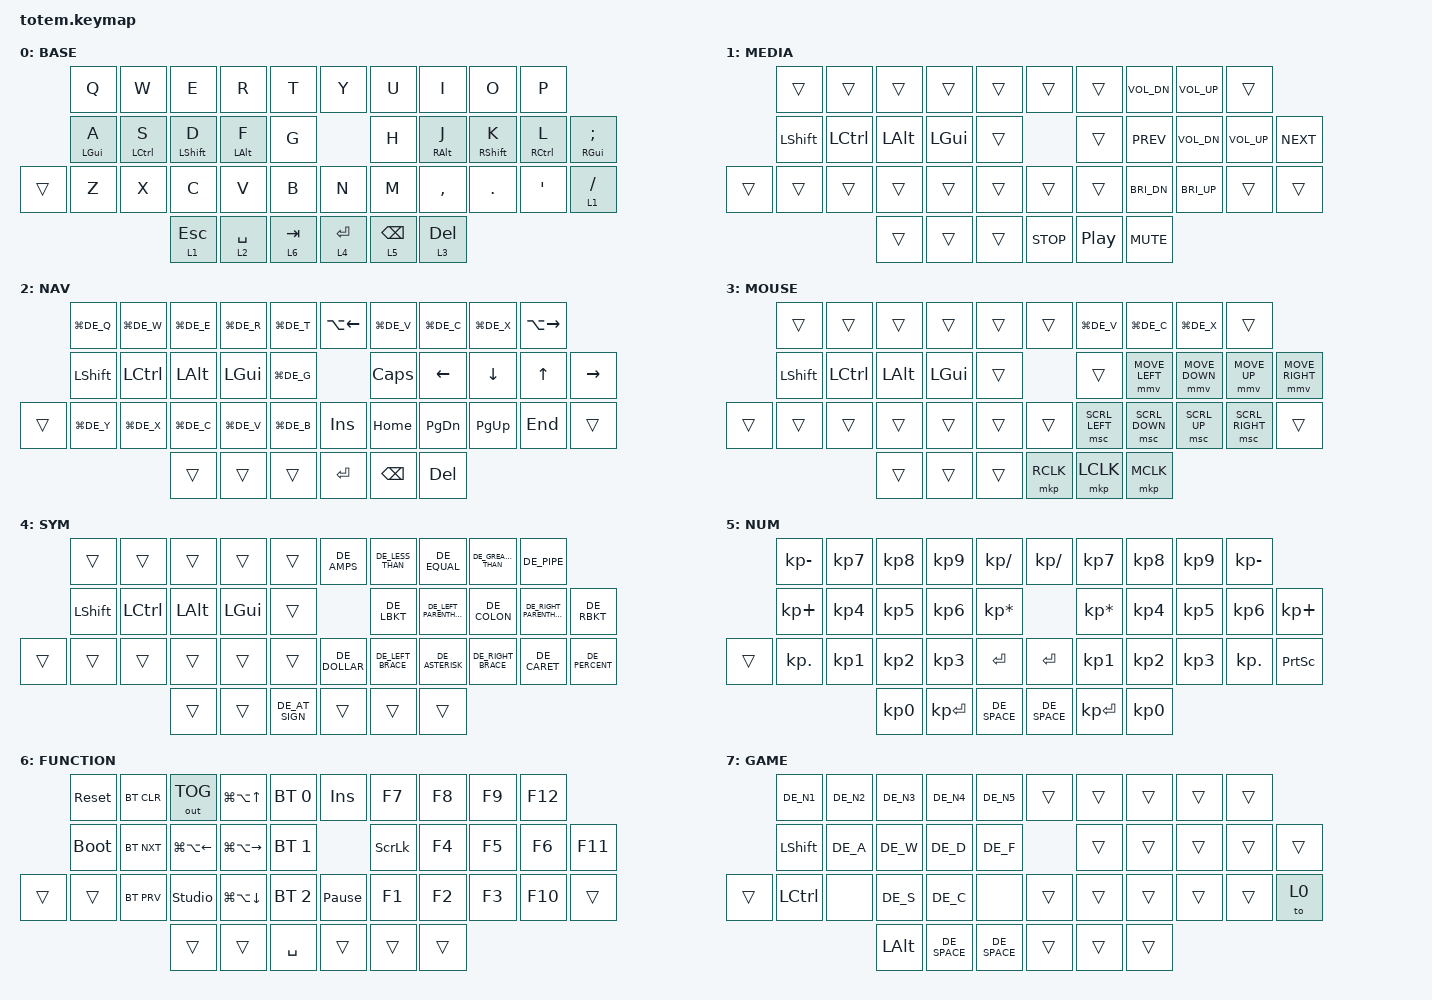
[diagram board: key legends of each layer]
//
//                                                        ▀▀▀▀▀     ▀▀▀▀▀          ▀▀█▀▀
//                                                        ▄▀▀▀▄  ▄  ▄▀▀▀▄  ▄  ▄▀▀▀▄  █  ▄▀▀▀▄
//                                                        █   █  █  █   █  █  █   █  █  █   █
//                                                         ▀▀▀   █   ▀▀▀   █   ▀▀▀   ▀   ▀▀▀
//                                                               █      ▄▄▄█▄▄▄    █   █  
//                                                               ▀      █  █  █     █▄█
//                                                             ▀▀▀▀▀    █  █  █      ▀
//                                                                      ▀  ▀  ▀
//
// ▄▄▄▄▄▄▄▄▄▄▄▄▄▄▄▄▄▄▄▄▄▄▄▄▄▄▄▄▄▄▄▄▄▄▄▄▄▄▄▄▄▄▄▄▄▄▄▄▄▄▄▄▄▄▄▄▄▄▄▄▄▄▄▄▄▄▄▄▄▄▄▄▄▄▄▄▄▄▄▄▄▄▄▄▄▄▄▄▄▄▄▄▄▄▄▄▄▄▄▄▄▄▄▄▄▄▄▄▄▄▄▄▄▄▄▄▄▄▄▄▄▄▄▄▄▄▄▄▄▄▄▄▄▄▄▄▄▄▄▄▄▄▄▄▄▄▄▄▄

#include <behaviors.dtsi>
#include <dt-bindings/zmk/bt.h>
#include <dt-bindings/zmk/keys.h>
#include <dt-bindings/zmk/outputs.h>
#include <dt-bindings/zmk/pointing.h>
#ifndef KEYMAP_DRAWER
#include "keys_de.h"
#endif

#define BASE      0
#define MEDIA     1
#define NAV       2
#define MOUSE     3
#define SYM       4
#define NUM       5
#define FUNCTION  6
#define GAME      7
#define QWERTY    8

&mt {
    quick-tap-ms = <100>;
    global-quick-tap;
    flavor = "tap-preferred";
    tapping-term-ms = <170>;
};

/ {
    behaviors {
        hm: homerow_mods {
            compatible = "zmk,behavior-hold-tap";
            label = "HOMEROW_MODS";
            #binding-cells = <2>;
            tapping-term-ms = <200>;			// <---[[produces tap if held longer than tapping-term-ms]]
            quick_tap_ms = <0>;
            flavor = "tap-preferred";
            bindings = <&kp>, <&kp>;
        };

        hm2: home_row_mod_2 {
            compatible = "zmk,behavior-hold-tap";
            #binding-cells = <2>;
            flavor = "balanced";
            require-prior-idle-ms = <150>;
            tapping-term-ms = <280>;
            quick-tap-ms = <175>;
            bindings = <&kp>, <&kp>;

            hold-trigger-key-positions = <5 6 7 8 9 15 16 17 18 19 25 26 27 28 29 33 34 35>;
            hold-trigger-on-release;
        };

        lc: layer_change {
            compatible = "zmk,behavior-hold-tap";
            #binding-cells = <2>;
            flavor = "hold-preferred";
            tapping-term-ms = <200>;
            quick-tap-ms = <200>;
            require-prior-idle-ms = <125>;
            bindings = <&to>, <&kp>;
        };

        sc: sticky_layer_change {
            compatible = "zmk,behavior-hold-tap";
            #binding-cells = <2>;
            flavor = "hold-preferred";
            tapping-term-ms = <200>;
            quick-tap-ms = <200>;
            require-prior-idle-ms = <125>;
            bindings = <&sl>, <&kp>;
        };

        dl: dualayer_change {
            compatible = "zmk,behavior-hold-tap";
            #binding-cells = <2>;
            flavor = "hold-preferred";
            tapping-term-ms = <200>;
            quick-tap-ms = <200>;
            require-prior-idle-ms = <125>;
            bindings = <&to>, <&sl>;
        };

        ts: temp_sticky {
            compatible = "zmk,behavior-hold-tap";
            #binding-cells = <2>;
            flavor = "hold-preferred";
            tapping-term-ms = <200>;
            quick-tap-ms = <200>;
            require-prior-idle-ms = <125>;
            bindings = <&mo>, <&to>;
        };
    };

    combos {
        compatible = "zmk,combos";

        combo_undo {
            timeout-ms = <50>;
            key-positions = <34 35>;
            layers = <0 5 1 6>;
            bindings = <&kp LG(Y)>;
        };

        to_game_layer {
            bindings = <&to 7>;
            key-positions = <4 5>;
            layers = <0 5 1 6>;
            timeout-ms = <50>;
        };

        combo_enter {
            bindings = <&kp ENTER>;
            key-positions = <16 17 18>;
        };
    };

    keymap {
        compatible = "zmk,keymap";

        // ▄▄▄▄▄▄▄▄▄▄▄▄▄▄▄▄▄▄▄▄▄▄▄▄▄▄▄▄▄▄▄▄▄▄▄▄▄▄▄▄▄▄▄▄▄▄▄▄▄▄▄▄▄▄▄▄▄▄▄▄▄▄▄▄▄▄▄▄▄▄▄▄▄▄▄▄▄▄▄▄▄▄▄▄▄▄▄▄▄▄▄▄▄▄▄▄▄▄▄▄▄▄▄▄▄▄▄▄▄▄▄▄▄▄▄▄▄▄▄▄▄▄▄▄▄▄▄▄▄▄▄▄▄▄▄▄▄▄▄▄▄▄▄▄▄▄▄▄▄

        base_layer {
            // ┏━━━━━━━━━━━━━━━━━━━━━━━━━━━━━━━━━━━━━━━┓

            label = "BASE";

            // ┗━━━━━━━━━━━━━━━━━━━━━━━━━━━━━━━━━━━━━━━┛
            //             ┌─────────┬─────────┬─────────┬─────────┬─────────┐                     ┌─────────┬─────────┬─────────┬─────────┬─────────┐
            //             │    Q    │    W    │    E    │    R    │    T    │                     │    Y    │    U    │    I    │    O    │    P    │   
            //             ├─────────┼─────────┼─────────┼─────────┼─────────┤                     ├─────────┼─────────┼─────────┼─────────┼─────────┤
            //             │    A    │    S    │    D    │    F    │    G    │                     │    H    │    J    │    K    │    L    │    ;    │
            //   ┌─────────┼─────────┼─────────┼─────────┼─────────┼─────────┤                     ├─────────┼─────────┼─────────┼─────────┼─────────┼─────────┐
            //   │  ^SPACE │    Z    │    X    │    C    │    V    │    B    │                     │    N    │    M    │    ,    │    .    │    '    │    /    │
            //   └─────────┴─────────┴─────────┴─────────┼─────────┼─────────┼──────────┬┬─────────┼─────────┼─────────┼─────────┴─────────┴─────────┴─────────┘
            //                                           │   ESC   │  SPACE  │  TAB     ││   RET   │  BSPCE  │   DEL   │  
            //                                           └─────────┴─────────┴──────────┘└─────────┴─────────┴─────────┘

            bindings = <
               &kp Q         &kp W        &kp E       &kp R        &kp T        &kp Y      &kp U            &kp I         &kp O        &kp P
               &hm2 LGUI A  &hm2 LCTRL S  &hm2 LSHIFT D  &hm2 LALT F   &kp G        &kp H      &hm2 RALT J       &hm2 RSHIFT K    &hm2 RCTRL L  &hm2 RGUI SEMICOLON
       &trans  &kp Z         &kp X        &kp C       &kp V        &kp B        &kp N      &kp M            &kp COMMA     &kp DOT      &kp SQT           &lc 1 SLASH
                                          &lt 1 ESC   &lt 2 SPACE  &lt 6 TAB    &lt 4 RET  &lt 5 BACKSPACE  &lt 3 DELETE
            >;
        };

        // ▄▄▄▄▄▄▄▄▄▄▄▄▄▄▄▄▄▄▄▄▄▄▄▄▄▄▄▄▄▄▄▄▄▄▄▄▄▄▄▄▄▄▄▄▄▄▄▄▄▄▄▄▄▄▄▄▄▄▄▄▄▄▄▄▄▄▄▄▄▄▄▄▄▄▄▄▄▄▄▄▄▄▄▄▄▄▄▄▄▄▄▄▄▄▄▄▄▄▄▄▄▄▄▄▄▄▄▄▄▄▄▄▄▄▄▄▄▄▄▄▄▄▄▄▄▄▄▄▄▄▄▄▄▄▄▄▄▄▄▄▄▄▄▄▄▄▄▄▄	

        media_layer {
            // ┏━━━━━━━━━━━━━━━━━━━━━━━━━━━━━━━━━━━━━━━┓

            label = "MEDIA";

            // ┗━━━━━━━━━━━━━━━━━━━━━━━━━━━━━━━━━━━━━━━┛
            //             ┌─────────┬─────────┬─────────┬─────────┬─────────┐                    ┌─────────┬─────────┬─────────┬─────────┬─────────┐
            //             │         │         │         │         │         │                    │         │         │         │         │         │   
            //             ├─────────┼─────────┼─────────┼─────────┼─────────┤                    ├─────────┼─────────┼─────────┼─────────┼─────────┤
            //             │         │         │         │         │         │                    │         │         │         │         │         │
            //   ┌─────────┼─────────┼─────────┼─────────┼─────────┼─────────┤                    ├─────────┼─────────┼─────────┼─────────┼─────────┼─────────┐
            //   │         │         │         │         │         │         │                    │         │         │         │         │         │         │
            //   └─────────┴─────────┴─────────┴─────────┼─────────┼─────────┼─────────┬┬─────────┼─────────┼─────────┼─────────┴─────────┴─────────┴─────────┘
            //                                           │         │         │         ││         │         │         │  
            //                                           └─────────┴─────────┴─────────┘└─────────┴─────────┴─────────┘

            bindings = <
        &trans     &trans     &trans    &trans    &trans    &trans      &trans      &kp K_VOL_DN       &kp K_VOL_UP  &trans
        &kp LSHFT  &kp LCTRL  &kp LALT  &kp LGUI  &trans    &trans      &kp C_PREV  &kp C_VOL_DN       &kp C_VOL_UP  &kp C_NEXT
&trans  &trans     &trans     &trans    &trans    &trans    &trans      &trans      &kp C_BRI_DN       &kp C_BRI_UP  &trans      &trans
                              &trans    &trans    &trans    &kp C_STOP  &kp C_PP    &kp C_MUTE
            >;
        };

        // ▄▄▄▄▄▄▄▄▄▄▄▄▄▄▄▄▄▄▄▄▄▄▄▄▄▄▄▄▄▄▄▄▄▄▄▄▄▄▄▄▄▄▄▄▄▄▄▄▄▄▄▄▄▄▄▄▄▄▄▄▄▄▄▄▄▄▄▄▄▄▄▄▄▄▄▄▄▄▄▄▄▄▄▄▄▄▄▄▄▄▄▄▄▄▄▄▄▄▄▄▄▄▄▄▄▄▄▄▄▄▄▄▄▄▄▄▄▄▄▄▄▄▄▄▄▄▄▄▄▄▄▄▄▄▄▄▄▄▄▄▄▄▄▄▄▄▄▄▄	

        nav_layer {
            // ┏━━━━━━━━━━━━━━━━━━━━━━━━━━━━━━━━━━━━━━━┓

            label = "NAV";

            // ┗━━━━━━━━━━━━━━━━━━━━━━━━━━━━━━━━━━━━━━━┛
            //             ┌─────────┬─────────┬─────────┬─────────┬─────────┐                    ┌─────────┬─────────┬─────────┬─────────┬─────────┐
            //             │         │         │         │         │         │                    │         │         │         │         │         │   
            //             ├─────────┼─────────┼─────────┼─────────┼─────────┤                    ├─────────┼─────────┼─────────┼─────────┼─────────┤
            //             │         │         │         │         │         │                    │         │         │         │         │         │
            //   ┌─────────┼─────────┼─────────┼─────────┼─────────┼─────────┤                    ├─────────┼─────────┼─────────┼─────────┼─────────┼─────────┐
            //   │         │         │         │         │         │         │                    │         │         │         │         │         │         │
            //   └─────────┴─────────┴─────────┴─────────┼─────────┼─────────┼─────────┬┬─────────┼─────────┼─────────┼─────────┴─────────┴─────────┴─────────┘
            //                                           │         │         │         ││         │         │         │  
            //                                           └─────────┴─────────┴─────────┘└─────────┴─────────┴─────────┘

            bindings = <
        &kp LG(DE_Q)   &kp LG(DE_W)  &kp LG(DE_E)  &kp LG(DE_R)  &kp LG(DE_T)    &kp LA(LEFT)  &kp LG(DE_V)      &kp LG(DE_C)      &kp LG(DE_X)    &kp LA(RIGHT)
        &kp LSHIFT  &kp LCTRL  &kp LALT   &kp LGUI   &kp LG(DE_G)    &kp CAPS      &kp LEFT       &kp DOWN       &kp UP       &kp RIGHT
&trans  &kp LG(DE_Y)   &kp LG(DE_X)  &kp LG(DE_C)  &kp LG(DE_V)  &kp LG(DE_B)    &kp INSERT    &kp HOME       &kp PAGE_DOWN  &kp PAGE_UP  &kp END        &trans
                               &trans     &trans     &trans       &kp ENTER     &kp BACKSPACE  &kp DELETE
            >;
        };

        // ▄▄▄▄▄▄▄▄▄▄▄▄▄▄▄▄▄▄▄▄▄▄▄▄▄▄▄▄▄▄▄▄▄▄▄▄▄▄▄▄▄▄▄▄▄▄▄▄▄▄▄▄▄▄▄▄▄▄▄▄▄▄▄▄▄▄▄▄▄▄▄▄▄▄▄▄▄▄▄▄▄▄▄▄▄▄▄▄▄▄▄▄▄▄▄▄▄▄▄▄▄▄▄▄▄▄▄▄▄▄▄▄▄▄▄▄▄▄▄▄▄▄▄▄▄▄▄▄▄▄▄▄▄▄▄▄▄▄▄▄▄▄▄▄▄▄▄▄▄	

        mouse_layer {
            // ┏━━━━━━━━━━━━━━━━━━━━━━━━━━━━━━━━━━━━━━━┓

            label = "MOUSE";

            // ┗━━━━━━━━━━━━━━━━━━━━━━━━━━━━━━━━━━━━━━━┛
            //             ┌─────────┬─────────┬─────────┬─────────┬─────────┐                    ┌─────────┬─────────┬─────────┬─────────┬─────────┐
            //             │         │         │         │         │         │                    │         │         │         │         │         │   
            //             ├─────────┼─────────┼─────────┼─────────┼─────────┤                    ├─────────┼─────────┼─────────┼─────────┼─────────┤
            //             │         │         │         │         │         │                    │         │         │         │         │         │
            //   ┌─────────┼─────────┼─────────┼─────────┼─────────┼─────────┤                    ├─────────┼─────────┼─────────┼─────────┼─────────┼─────────┐
            //   │         │         │         │         │         │         │                    │         │         │         │         │         │         │
            //   └─────────┴─────────┴─────────┴─────────┼─────────┼─────────┼─────────┬┬─────────┼─────────┼─────────┼─────────┴─────────┴─────────┴─────────┘
            //                                           │         │         │         ││         │         │         │  
            //                                           └─────────┴─────────┴─────────┘└─────────┴─────────┴─────────┘

            bindings = <
        &trans     &trans     &trans    &trans    &trans    &trans     &kp LG(DE_V)       &kp LG(DE_C)       &kp LG(DE_X)     &trans
        &kp LSHFT  &kp LCTRL  &kp LALT  &kp LGUI  &trans    &trans     &mmv MOVE_LEFT  &mmv MOVE_DOWN  &mmv MOVE_UP  &mmv MOVE_RIGHT
&trans  &trans     &trans     &trans    &trans    &trans    &trans     &msc SCRL_LEFT  &msc SCRL_DOWN  &msc SCRL_UP  &msc SCRL_RIGHT  &trans
                              &trans    &trans    &trans    &mkp RCLK  &mkp LCLK       &mkp MCLK
            >;
        };

        // ▄▄▄▄▄▄▄▄▄▄▄▄▄▄▄▄▄▄▄▄▄▄▄▄▄▄▄▄▄▄▄▄▄▄▄▄▄▄▄▄▄▄▄▄▄▄▄▄▄▄▄▄▄▄▄▄▄▄▄▄▄▄▄▄▄▄▄▄▄▄▄▄▄▄▄▄▄▄▄▄▄▄▄▄▄▄▄▄▄▄▄▄▄▄▄▄▄▄▄▄▄▄▄▄▄▄▄▄▄▄▄▄▄▄▄▄▄▄▄▄▄▄▄▄▄▄▄▄▄▄▄▄▄▄▄▄▄▄▄▄▄▄▄▄▄▄▄▄▄	

        sym_layer {
            // ┏━━━━━━━━━━━━━━━━━━━━━━━━━━━━━━━━━━━━━━━┓

            label = "SYM";

            // ┗━━━━━━━━━━━━━━━━━━━━━━━━━━━━━━━━━━━━━━━┛
            //             ┌─────────┬─────────┬─────────┬─────────┬─────────┐                    ┌─────────┬─────────┬─────────┬─────────┬─────────┐
            //             │         │         │         │         │         │                    │         │         │         │         │         │   
            //             ├─────────┼─────────┼─────────┼─────────┼─────────┤                    ├─────────┼─────────┼─────────┼─────────┼─────────┤
            //             │         │         │         │         │         │                    │         │         │         │         │         │
            //   ┌─────────┼─────────┼─────────┼─────────┼─────────┼─────────┤                    ├─────────┼─────────┼─────────┼─────────┼─────────┼─────────┐
            //   │         │         │         │         │         │         │                    │         │         │         │         │         │         │
            //   └─────────┴─────────┴─────────┴─────────┼─────────┼─────────┼─────────┬┬─────────┼─────────┼─────────┼─────────┴─────────┴─────────┴─────────┘
            //                                           │         │         │         ││         │         │         │  
            //                                           └─────────┴─────────┴─────────┘└─────────┴─────────┴─────────┘

            bindings = <
        &trans     &trans     &trans    &trans    &trans         &kp DE_AMPS  &kp DE_LESS_THAN         &kp DE_EQUAL     &kp DE_GREATER_THAN       &kp DE_PIPE
        &kp LSHFT  &kp LCTRL  &kp LALT  &kp LGUI  &trans         &kp DE_LBKT       &kp DE_LEFT_PARENTHESIS  &kp DE_COLON     &kp DE_RIGHT_PARENTHESIS  &kp DE_RBKT
&trans  &trans     &trans     &trans    &trans    &trans         &kp DE_DOLLAR     &kp DE_LEFT_BRACE        &kp DE_ASTERISK  &kp DE_RIGHT_BRACE        &kp DE_CARET  &kp DE_PERCENT
                              &trans    &trans    &kp DE_AT_SIGN    &trans         &trans                &trans
            >;
        };

        // ▄▄▄▄▄▄▄▄▄▄▄▄▄▄▄▄▄▄▄▄▄▄▄▄▄▄▄▄▄▄▄▄▄▄▄▄▄▄▄▄▄▄▄▄▄▄▄▄▄▄▄▄▄▄▄▄▄▄▄▄▄▄▄▄▄▄▄▄▄▄▄▄▄▄▄▄▄▄▄▄▄▄▄▄▄▄▄▄▄▄▄▄▄▄▄▄▄▄▄▄▄▄▄▄▄▄▄▄▄▄▄▄▄▄▄▄▄▄▄▄▄▄▄▄▄▄▄▄▄▄▄▄▄▄▄▄▄▄▄▄▄▄▄▄▄▄▄▄▄	

        num_layer {
            // ┏━━━━━━━━━━━━━━━━━━━━━━━━━━━━━━━━━━━━━━━┓

            label = "NUM";

            // ┗━━━━━━━━━━━━━━━━━━━━━━━━━━━━━━━━━━━━━━━┛
            //             ┌─────────┬─────────┬─────────┬─────────┬─────────┐                     ┌─────────┬─────────┬─────────┬─────────┬─────────┐
            //             │    -    │    7    │    8    │    9    │    /    │                     │    /    │    7    │    8    │    9    │    -    │
            //             ├─────────┼─────────┼─────────┼─────────┼─────────┤                     ├─────────┼─────────┼─────────┼─────────┼─────────┤
            //             │    +    │    4    │    5    │    6    │    *    │                     │    *    │    4    │    5    │    6    │    +    │
            //   ┌─────────┼─────────┼─────────┼─────────┼─────────┼─────────┤                     ├─────────┼─────────┼─────────┼─────────┼─────────┼─────────┐
            //   │         │    .    │    1    │    2    │    3    │ ------- │                     │ ------- │    1    │    2    │    3    │    .    │  PRINT  │
            //   └─────────┴─────────┴─────────┴─────────┼─────────┼─────────┼──────────┬┬─────────┼─────────┼─────────┼─────────┴─────────┴─────────┴─────────┘
            //                                           │    0    │  ENTER  │  SPACE   ││  SPACE  │  ENTER  │    0    │ 
            //                                           └─────────┴─────────┴──────────┘└─────────┴─────────┴─────────┘

            bindings = <
           &kp KP_MINUS  &kp KP_N7  &kp KP_N8  &kp KP_N9  &kp KP_DIVIDE      &kp KP_DIVIDE    &kp KP_N7  &kp KP_N8  &kp KP_N9  &kp KP_MINUS
           &kp KP_PLUS   &kp KP_N4  &kp KP_N5  &kp KP_N6  &kp KP_MULTIPLY    &kp KP_MULTIPLY  &kp KP_N4  &kp KP_N5  &kp KP_N6  &kp KP_PLUS
&trans  &kp KP_DOT    &kp KP_N1  &kp KP_N2  &kp KP_N3  &kp RET            &kp RET          &kp KP_N1  &kp KP_N2  &kp KP_N3  &kp KP_DOT    &kp PSCRN
                                    &kp KP_N0  &kp KP_ENTER  &kp DE_SPACE          &kp DE_SPACE        &kp KP_ENTER     &kp KP_N0
            >;
        };

        // ▄▄▄▄▄▄▄▄▄▄▄▄▄▄▄▄▄▄▄▄▄▄▄▄▄▄▄▄▄▄▄▄▄▄▄▄▄▄▄▄▄▄▄▄▄▄▄▄▄▄▄▄▄▄▄▄▄▄▄▄▄▄▄▄▄▄▄▄▄▄▄▄▄▄▄▄▄▄▄▄▄▄▄▄▄▄▄▄▄▄▄▄▄▄▄▄▄▄▄▄▄▄▄▄▄▄▄▄▄▄▄▄▄▄▄▄▄▄▄▄▄▄▄▄▄▄▄▄▄▄▄▄▄▄▄▄▄▄▄▄▄▄▄▄▄▄▄▄▄	

        function_layer {
            // ┏━━━━━━━━━━━━━━━━━━━━━━━━━━━━━━━━━━━━━━━┓

            label = "FUNCTION";

            // ┗━━━━━━━━━━━━━━━━━━━━━━━━━━━━━━━━━━━━━━━┛
            //             ┌─────────┬─────────┬─────────┬─────────┬─────────┐                     ┌─────────┬─────────┬─────────┬─────────┬─────────┐
            //             │  RESET  │  BT CLR │ OUT TOG │  WIN ^  │ BTSEL 0 │                     │   INS   │    F7   │    F8   │    F9   │   F12   │
            //             ├─────────┼─────────┼─────────┼─────────┼─────────┤                     ├─────────┼─────────┼─────────┼─────────┼─────────┤
            //             │  BOOTLD │ BT NEXT │  WIN <  │  WIN >  │ BTSEL 1 │                     │  SLCK   │    F4   │    F5   │    F6   │   F11   │
            //   ┌─────────┼─────────┼─────────┼─────────┼─────────┼─────────┤                     ├─────────┼─────────┼─────────┼─────────┼─────────┼─────────┐
            //   │         │ CAPTURE │ BT PREV │ STUDIO  │  WIN v  │ BTSEL 2 │                     │  PAUSE  │    F1   │    F2   │    F3   │   F10   │         │
            //   └─────────┴─────────┴─────────┴─────────┼─────────┼─────────┼──────────┬┬─────────┼─────────┼─────────┼─────────┴─────────┴─────────┴─────────┘
            //                                           │         │         │  SPACE   ││         │         │         │ 
            //                                           └─────────┴─────────┴──────────┘└─────────┴─────────┴─────────┘

            bindings = <
        &sys_reset   &bt BT_CLR  &out OUT_TOG            &kp LG(LA(UP_ARROW))     &bt BT_SEL 0    &kp INSERT       &kp F7  &kp F8  &kp F9  &kp F12
        &bootloader  &bt BT_NXT  &kp LG(LA(LEFT_ARROW))  &kp LG(LA(RIGHT_ARROW))  &bt BT_SEL 1    &kp SLCK         &kp F4  &kp F5  &kp F6  &kp F11
&trans  &trans       &bt BT_PRV  &studio_unlock          &kp LG(LA(DOWN_ARROW))   &bt BT_SEL 2    &kp PAUSE_BREAK  &kp F1  &kp F2  &kp F3  &kp F10  &trans
                                 &trans                  &trans                   &kp SPACE       &trans           &trans  &trans
            >;
        };

        // ▄▄▄▄▄▄▄▄▄▄▄▄▄▄▄▄▄▄▄▄▄▄▄▄▄▄▄▄▄▄▄▄▄▄▄▄▄▄▄▄▄▄▄▄▄▄▄▄▄▄▄▄▄▄▄▄▄▄▄▄▄▄▄▄▄▄▄▄▄▄▄▄▄▄▄▄▄▄▄▄▄▄▄▄▄▄▄▄▄▄▄▄▄▄▄▄▄▄▄▄▄▄▄▄▄▄▄▄▄▄▄▄▄▄▄▄▄▄▄▄▄▄▄▄▄▄▄▄▄▄▄▄▄▄▄▄▄▄▄▄▄▄▄▄▄▄▄▄▄	

        game_layer {
            // ┏━━━━━━━━━━━━━━━━━━━━━━━━━━━━━━━━━━━━━━━┓

            label = "GAME";

            // ┗━━━━━━━━━━━━━━━━━━━━━━━━━━━━━━━━━━━━━━━┛
            //             ┌─────────┬─────────┬─────────┬─────────┬─────────┐                    ┌─────────┬─────────┬─────────┬─────────┬─────────┐
            //             │    1    │    2    │    3    │    4    │    5    │                    │         │         │         │         │         │   
            //             ├─────────┼─────────┼─────────┼─────────┼─────────┤                    ├─────────┼─────────┼─────────┼─────────┼─────────┤
            //             │  SHIFT  │    A    │    W    │    D    │    F    │                    │         │         │         │         │         │
            //   ┌─────────┼─────────┼─────────┼─────────┼─────────┼─────────┤                    ├─────────┼─────────┼─────────┼─────────┼─────────┼─────────┐
            //   │ ------- │  CRTL   │ ------- │    S    │    C    │ ------- │                    │         │         │         │         │         │         │
            //   └─────────┴─────────┴─────────┴─────────┼─────────┼─────────┼─────────┬┬─────────┼─────────┼─────────┼─────────┴─────────┴─────────┴─────────┘
            //                                           │   ALT   │  SPACE  │  SPACE  ││         │         │         │  
            //                                           └─────────┴─────────┴─────────┘└─────────┴─────────┴─────────┘

            bindings = <
       &kp DE_N1     &kp DE_N2  &kp DE_N3    &kp DE_N4     &kp DE_N5       &trans  &trans  &trans  &trans  &trans
       &kp LSHFT  &kp DE_A   &kp DE_W     &kp DE_D      &kp DE_F        &trans  &trans  &trans  &trans  &trans
&trans  &kp LCTRL  &none   &kp DE_S     &kp DE_C      &none        &trans  &trans  &trans  &trans  &trans  &to 0
                          &kp LALT  &kp DE_SPACE  &kp DE_SPACE    &trans  &trans  &trans
            >;
        };

        // ▄▄▄▄▄▄▄▄▄▄▄▄▄▄▄▄▄▄▄▄▄▄▄▄▄▄▄▄▄▄▄▄▄▄▄▄▄▄▄▄▄▄▄▄▄▄▄▄▄▄▄▄▄▄▄▄▄▄▄▄▄▄▄▄▄▄▄▄▄▄▄▄▄▄▄▄▄▄▄▄▄▄▄▄▄▄▄▄▄▄▄▄▄▄▄▄▄▄▄▄▄▄▄▄▄▄▄▄▄▄▄▄▄▄▄▄▄▄▄▄▄▄▄▄▄▄▄▄▄▄▄▄▄▄▄▄▄▄▄▄▄▄▄▄▄▄▄▄▄
    };
};
